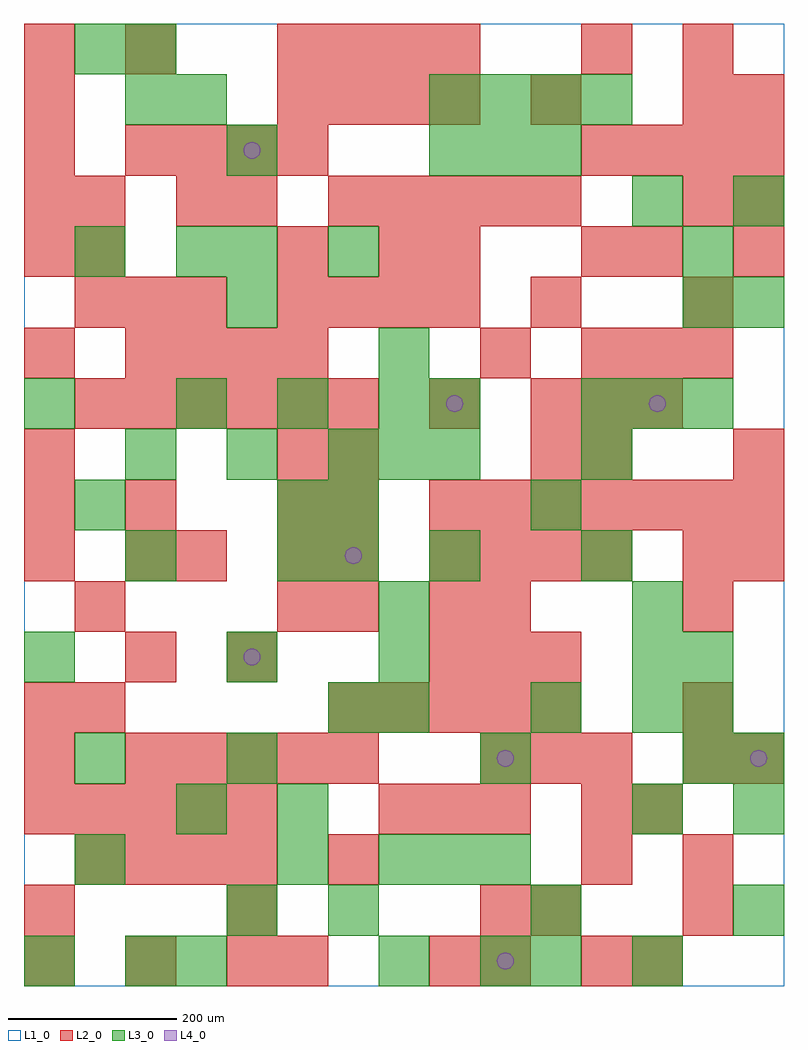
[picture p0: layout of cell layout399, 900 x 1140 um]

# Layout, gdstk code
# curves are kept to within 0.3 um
import gdstk
lib = gdstk.Library(unit=1e-6, precision=1e-09)
def R(c, l, rs):  # rectangles x0, y0, x1, y1
    for r in rs: c.add(gdstk.rectangle(r[:2], r[2:], *l))
def A(c, l, x, y, w, h, nx, ny, dx, dy):  # array of equal rectangles
    R(c, l, [(x+i*dx, y+j*dy, x+i*dx+w, y+j*dy+h) for i in range(nx) for j in range(ny)])
def P(c, l, *ps):  # polygons
    for p in ps: c.add(gdstk.Polygon(p, *l))
L1_0 = (1, 0)
L2_0 = (2, 0)
L3_0 = (3, 0)
L4_0 = (4, 0)

layout399 = lib.new_cell('layout399')
R(layout399, L1_0, [(0,0,900,1140)])
A(layout399, L2_0, 0, 0, 60, 60, 3, 1, 120, 0)
A(layout399, L2_0, 60, 120, 60, 60, 4, 1, 60, 0)
A(layout399, L2_0, 0, 180, 60, 60, 5, 1, 60, 0)
A(layout399, L2_0, 420, 180, 60, 60, 3, 1, 60, 0)
A(layout399, L2_0, 120, 240, 60, 60, 5, 1, 60, 0)
A(layout399, L2_0, 540, 240, 60, 60, 3, 1, 60, 0)
A(layout399, L2_0, 360, 300, 60, 60, 5, 2, 60, 600)
A(layout399, L2_0, 480, 360, 60, 60, 3, 1, 60, 0)
A(layout399, L2_0, 300, 420, 60, 60, 1, 4, 0, 60)
A(layout399, L2_0, 360, 420, 60, 60, 1, 4, 0, 60)
A(layout399, L2_0, 0, 480, 60, 60, 1, 3, 0, 60)
A(layout399, L2_0, 480, 480, 60, 60, 4, 1, 60, 0)
A(layout399, L2_0, 480, 540, 60, 60, 7, 1, 60, 0)
A(layout399, L2_0, 660, 600, 60, 60, 1, 3, 0, 240)
A(layout399, L2_0, 60, 660, 60, 60, 6, 1, 60, 0)
A(layout399, L2_0, 600, 660, 60, 60, 3, 1, 60, 0)
A(layout399, L2_0, 120, 720, 60, 60, 4, 2, 60, 240)
A(layout399, L2_0, 660, 720, 60, 60, 3, 1, 60, 0)
A(layout399, L2_0, 60, 780, 60, 60, 3, 1, 60, 0)
A(layout399, L2_0, 300, 780, 60, 60, 4, 2, 60, 240)
A(layout399, L2_0, 780, 780, 60, 60, 1, 3, 0, 120)
A(layout399, L2_0, 0, 840, 60, 60, 1, 5, 0, 60)
A(layout399, L2_0, 660, 960, 60, 60, 4, 1, 60, 0)
A(layout399, L2_0, 300, 1080, 60, 60, 4, 1, 60, 0)
R(layout399, L2_0, [(300,0,360,60), (480,0,540,60), (540,0,600,60), (660,0,720,60), (720,0,780,60), (0,60,60,120), (240,60,300,120), (540,60,600,120), (600,60,660,120), (780,60,840,120), (360,120,420,180), (660,120,720,180), (780,120,840,180), (660,180,720,240), (720,180,780,240), (0,240,60,300), (780,240,840,300), (840,240,900,300), (0,300,60,360), (60,300,120,360), (780,300,840,360), (120,360,180,420), (240,360,300,420), (60,420,120,480), (480,420,540,480), (540,420,600,480), (780,420,840,480), (120,480,180,540), (180,480,240,540), (780,480,840,540), (840,480,900,540), (120,540,180,600), (600,600,660,660), (840,600,900,660), (480,660,540,720), (0,720,60,780), (540,720,600,780), (600,780,660,840), (60,840,120,900), (300,840,360,900), (420,840,480,900), (480,840,540,900), (720,840,780,900), (840,840,900,900), (60,900,120,960), (180,900,240,960), (240,900,300,960), (840,900,900,960), (600,1020,660,1080), (840,1020,900,1080), (120,1080,180,1140), (780,1080,840,1140)])
A(layout399, L3_0, 360, 60, 60, 60, 3, 1, 240, 0)
A(layout399, L3_0, 420, 120, 60, 60, 3, 1, 60, 0)
A(layout399, L3_0, 60, 240, 60, 60, 1, 3, 0, 300)
A(layout399, L3_0, 780, 240, 60, 60, 1, 3, 0, 60)
A(layout399, L3_0, 420, 300, 60, 60, 1, 3, 0, 60)
A(layout399, L3_0, 720, 300, 60, 60, 1, 3, 0, 60)
A(layout399, L3_0, 120, 600, 60, 60, 3, 1, 120, 0)
A(layout399, L3_0, 180, 660, 60, 60, 3, 1, 120, 0)
A(layout399, L3_0, 660, 660, 60, 60, 3, 1, 60, 0)
A(layout399, L3_0, 480, 960, 60, 60, 3, 1, 60, 0)
A(layout399, L3_0, 480, 1020, 60, 60, 4, 1, 60, 0)
R(layout399, L3_0, [(0,0,60,60), (120,0,180,60), (180,0,240,60), (420,0,480,60), (540,0,600,60), (600,0,660,60), (720,0,780,60), (240,60,300,120), (60,120,120,180), (300,120,360,180), (180,180,240,240), (300,180,360,240), (720,180,780,240), (840,180,900,240), (240,240,300,300), (540,240,600,300), (840,240,900,300), (360,300,420,360), (600,300,660,360), (0,360,60,420), (240,360,300,420), (120,480,180,540), (300,480,360,540), (360,480,420,540), (480,480,540,540), (660,480,720,540), (300,540,360,600), (360,540,420,600), (600,540,660,600), (420,600,480,660), (480,600,540,660), (660,600,720,660), (0,660,60,720), (480,660,540,720), (420,720,480,780), (240,780,300,840), (780,780,840,840), (840,780,900,840), (180,840,240,900), (240,840,300,900), (360,840,420,900), (780,840,840,900), (720,900,780,960), (840,900,900,960), (240,960,300,1020), (120,1020,180,1080), (180,1020,240,1080), (60,1080,120,1140), (120,1080,180,1140)])
P(layout399, L4_0, [(280,390),(279.239,393.827),(277.071,397.071),(273.827,399.239),(270,400),(266.173,399.239),(262.929,397.071),(260.761,393.827),(260,390),(260.761,386.173),(262.929,382.929),(266.173,380.761),(270,380),(273.827,380.761),(277.071,382.929),(279.239,386.173)],
  [(280,990),(279.239,993.827),(277.071,997.071),(273.827,999.239),(270,1000),(266.173,999.239),(262.929,997.071),(260.761,993.827),(260,990),(260.761,986.173),(262.929,982.929),(266.173,980.761),(270,980),(273.827,980.761),(277.071,982.929),(279.239,986.173)],
  [(400,510),(399.239,513.827),(397.071,517.071),(393.827,519.239),(390,520),(386.173,519.239),(382.929,517.071),(380.761,513.827),(380,510),(380.761,506.173),(382.929,502.929),(386.173,500.761),(390,500),(393.827,500.761),(397.071,502.929),(399.239,506.173)],
  [(520,690),(519.239,693.827),(517.071,697.071),(513.827,699.239),(510,700),(506.173,699.239),(502.929,697.071),(500.761,693.827),(500,690),(500.761,686.173),(502.929,682.929),(506.173,680.761),(510,680),(513.827,680.761),(517.071,682.929),(519.239,686.173)],
  [(580,30),(579.239,33.827),(577.071,37.071),(573.827,39.239),(570,40),(566.173,39.239),(562.929,37.071),(560.761,33.827),(560,30),(560.761,26.173),(562.929,22.929),(566.173,20.761),(570,20),(573.827,20.761),(577.071,22.929),(579.239,26.173)],
  [(580,270),(579.239,273.827),(577.071,277.071),(573.827,279.239),(570,280),(566.173,279.239),(562.929,277.071),(560.761,273.827),(560,270),(560.761,266.173),(562.929,262.929),(566.173,260.761),(570,260),(573.827,260.761),(577.071,262.929),(579.239,266.173)],
  [(760,690),(759.239,693.827),(757.071,697.071),(753.827,699.239),(750,700),(746.173,699.239),(742.929,697.071),(740.761,693.827),(740,690),(740.761,686.173),(742.929,682.929),(746.173,680.761),(750,680),(753.827,680.761),(757.071,682.929),(759.239,686.173)],
  [(880,270),(879.239,273.827),(877.071,277.071),(873.827,279.239),(870,280),(866.173,279.239),(862.929,277.071),(860.761,273.827),(860,270),(860.761,266.173),(862.929,262.929),(866.173,260.761),(870,260),(873.827,260.761),(877.071,262.929),(879.239,266.173)])

lib.write_gds('layout399.gds')
